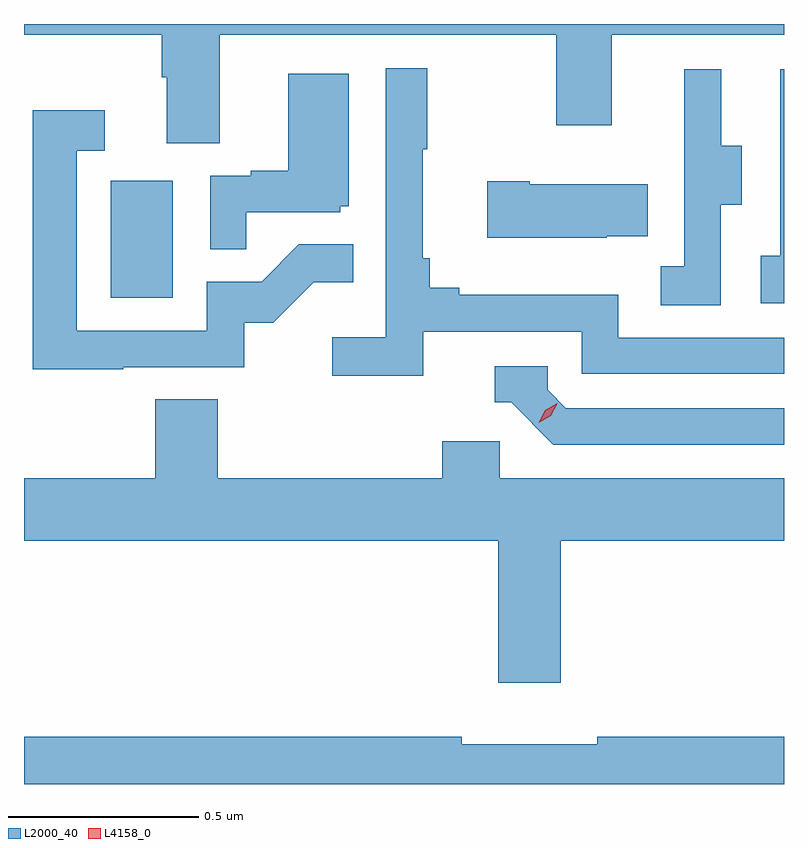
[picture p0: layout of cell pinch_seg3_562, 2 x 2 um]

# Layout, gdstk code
import gdstk
lib = gdstk.Library(unit=1e-6, precision=1e-09)
def R(c, l, rs):  # rectangles x0, y0, x1, y1
    for r in rs: c.add(gdstk.rectangle(r[:2], r[2:], *l))
def P(c, l, *ps):  # polygons
    for p in ps: c.add(gdstk.Polygon(p, *l))
L2000_40 = (2000, 40)
L4158_0 = (4158, 0)

pinch_seg3_562 = lib.new_cell('pinch_seg3_562')
R(pinch_seg3_562, L2000_40, [(1087.064,698.892,1087.228,699.199)])
P(pinch_seg3_562, L2000_40, [(1087.351,699.584),(1088.236,699.584),(1088.236,699.345),(1088.383,699.345),(1088.383,699.584),(1088.836,699.584),(1088.836,699.612),(1086.836,699.612),(1086.836,699.584),(1087.199,699.584),(1087.199,699.472),(1087.211,699.472),(1087.211,699.298),(1087.351,699.298)],
  [(1087.886,698.802),(1088.304,698.802),(1088.304,698.691),(1088.836,698.691),(1088.836,698.787),(1088.4,698.787),(1088.4,698.899),(1087.981,698.899),(1087.981,698.918),(1087.904,698.918),(1087.904,698.995),(1087.885,698.995),(1087.885,699.283),(1087.897,699.283),(1087.897,699.496),(1087.788,699.496),(1087.788,698.788),(1087.647,698.788),(1087.647,698.686),(1087.886,698.686)],
  [(1088.67,699.136),(1088.725,699.136),(1088.725,699.291),(1088.671,699.291),(1088.671,699.493),(1088.573,699.493),(1088.573,699.279),(1088.574,699.279),(1088.574,698.975),(1088.511,698.975),(1088.511,698.872),(1088.67,698.872)],
  [(1088.836,699.493),(1088.826,699.493),(1088.826,699.002),(1088.775,699.002),(1088.775,698.877),(1088.836,698.877)],
  [(1087.421,699.117),(1087.668,699.117),(1087.668,699.132),(1087.69,699.132),(1087.69,699.481),(1087.532,699.481),(1087.532,699.226),(1087.433,699.226),(1087.433,699.213),(1087.326,699.213),(1087.326,699.019),(1087.421,699.019)],
  [(1087.097,698.709),(1087.416,698.709),(1087.416,698.826),(1087.492,698.826),(1087.599,698.933),(1087.703,698.933),(1087.703,699.032),(1087.559,699.032),(1087.461,698.934),(1087.317,698.934),(1087.317,698.805),(1086.975,698.805),(1086.975,699.279),(1087.048,699.279),(1087.048,699.385),(1086.859,699.385),(1086.859,698.704),(1087.097,698.704)],
  [(1088.369,699.053),(1088.477,699.053),(1088.477,699.19),(1088.167,699.19),(1088.167,699.198),(1088.055,699.198),(1088.055,699.05),(1088.369,699.05)],
  [(1088.836,698.601),(1088.262,698.601),(1088.214,698.649),(1088.214,698.712),(1088.075,698.712),(1088.075,698.616),(1088.118,698.616),(1088.229,698.505),(1088.836,698.505)],
  [(1088.248,698.252),(1088.836,698.252),(1088.836,698.416),(1088.088,698.416),(1088.088,698.514),(1087.937,698.514),(1087.937,698.416),(1087.346,698.416),(1087.346,698.624),(1087.181,698.624),(1087.181,698.416),(1086.836,698.416),(1086.836,698.252),(1088.084,698.252),(1088.084,697.878),(1088.248,697.878)],
  [(1088.836,697.736),(1088.344,697.736),(1088.344,697.717),(1087.988,697.717),(1087.988,697.736),(1086.836,697.736),(1086.836,697.612),(1088.836,697.612)])
P(pinch_seg3_562, L4158_0, [(1088.191,698.563),(1088.191,698.563),(1088.208,698.595),(1088.239,698.614),(1088.239,698.614),(1088.239,698.613),(1088.222,698.581),(1088.191,698.563)])

lib.write_gds('pinch_seg3_562.gds')
